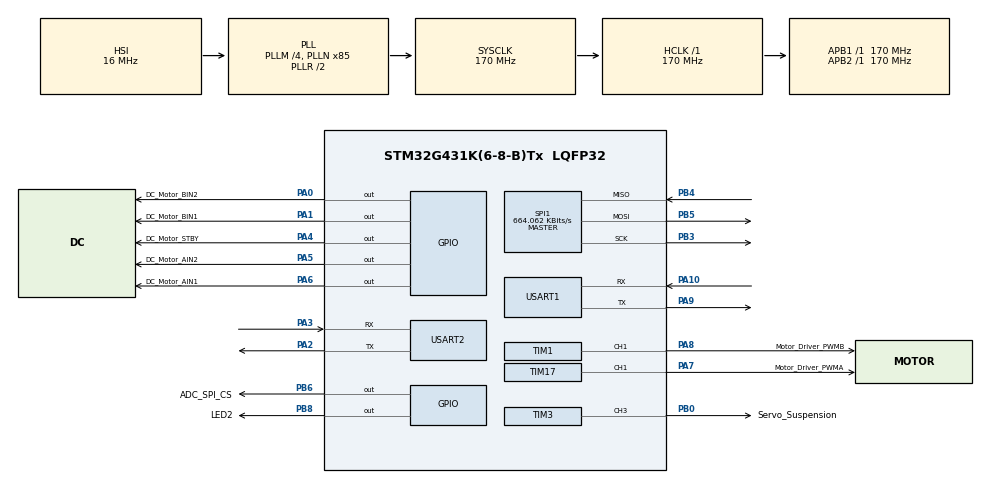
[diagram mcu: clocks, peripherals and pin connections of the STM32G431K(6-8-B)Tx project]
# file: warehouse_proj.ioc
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Mcu.Family=STM32G4
Mcu.Name=STM32G431K(6-8-B)Tx
Mcu.Package=LQFP32
NUCLEO-G431KB.LD2=true
NUCLEO-G431KB.VCP=true
NVIC.PriorityGroup=NVIC_PRIORITYGROUP_4
PA0.GPIO_Label=DC_Motor_BIN2
PA0.Signal=GPIO_Output
PA1.GPIO_Label=DC_Motor_BIN1
PA1.Signal=GPIO_Output
PA10.Mode=Asynchronous
PA10.Signal=USART1_RX
PA13.GPIO_Label=T_SWDIO
PA13.Mode=Serial_Wire
PA13.Signal=SYS_JTMS-SWDIO
PA14.GPIO_Label=T_SWCLK
PA14.Mode=Serial_Wire
PA14.Signal=SYS_JTCK-SWCLK
PA2.Mode=Asynchronous
PA2.Signal=USART2_TX
PA3.Mode=Asynchronous
PA3.Signal=USART2_RX
PA4.GPIO_Label=DC_Motor_STBY
PA4.Signal=GPIO_Output
PA5.GPIO_Label=DC_Motor_AIN2
PA5.Signal=GPIO_Output
PA6.GPIO_Label=DC_Motor_AIN1
PA6.Signal=GPIO_Output
PA7.GPIO_Label=Motor_Driver_PWMA
PA7.GPIO_Speed=GPIO_SPEED_FREQ_HIGH
PA7.Signal=S_TIM17_CH1
PA8.GPIO_Label=Motor_Driver_PWMB
PA8.Signal=S_TIM1_CH1
PA9.Mode=Asynchronous
PA9.Signal=USART1_TX
PB0.GPIO_Label=Servo_Suspension
PB0.GPIO_Speed=GPIO_SPEED_FREQ_HIGH
PB0.Signal=S_TIM3_CH3
PB3.GPIO_Speed=GPIO_SPEED_FREQ_VERY_HIGH
PB3.Mode=Full_Duplex_Master
PB3.Signal=SPI1_SCK
PB4.GPIO_Speed=GPIO_SPEED_FREQ_VERY_HIGH
PB4.Mode=Full_Duplex_Master
PB4.Signal=SPI1_MISO
PB5.GPIO_Speed=GPIO_SPEED_FREQ_VERY_HIGH
PB5.Mode=Full_Duplex_Master
PB5.Signal=SPI1_MOSI
PB6.GPIO_FM6=__NULL
PB6.GPIO_Label=ADC_SPI_CS
PB6.GPIO_Speed=GPIO_SPEED_FREQ_MEDIUM
PB6.PinState=GPIO_PIN_SET
PB6.Signal=GPIO_Output
PB8-BOOT0.GPIO_Label=LED2
PB8-BOOT0.Signal=GPIO_Output
ProjectManager.HeapSize=0x200
ProjectManager.StackSize=0x400
ProjectManager.TargetToolchain=CMake
RCC.ADC12Freq_Value=170000000
RCC.AHBFreq_Value=170000000
RCC.APB1Freq_Value=170000000
RCC.APB1TimFreq_Value=170000000
RCC.APB2Freq_Value=170000000
RCC.APB2TimFreq_Value=170000000
RCC.CortexFreq_Value=170000000
RCC.EXTERNAL_CLOCK_VALUE=12288000
RCC.HCLKFreq_Value=170000000
RCC.HSE_VALUE=8000000
RCC.HSI48_VALUE=48000000
RCC.HSI_VALUE=16000000
RCC.LSE_VALUE=32768
RCC.PLLM=RCC_PLLM_DIV4
RCC.PLLN=85
RCC.SYSCLKFreq_VALUE=170000000
RCC.SYSCLKSource=RCC_SYSCLKSOURCE_PLLCLK
RCC.USBFreq_Value=170000000
RCC.VCOOutputFreq_Value=340000000
SH.S_TIM17_CH1.0=TIM17_CH1,PWM Generation1 CH1
SH.S_TIM1_CH1.0=TIM1_CH1,PWM Generation1 CH1
SH.S_TIM3_CH3.0=TIM3_CH3,PWM Generation3 CH3
SPI1.BaudRatePrescaler=SPI_BAUDRATEPRESCALER_256
SPI1.CalculateBaudRate=664.062 KBits/s
SPI1.DataSize=SPI_DATASIZE_8BIT
SPI1.Direction=SPI_DIRECTION_2LINES
SPI1.Mode=SPI_MODE_MASTER
SPI1.NSSPMode=SPI_NSS_PULSE_DISABLE
SPI1.VirtualType=VM_MASTER
TIM1.Channel-PWM\ Generation1\ CH1=TIM_CHANNEL_1
TIM1.PeriodNoDither=999
TIM1.Prescaler=169
TIM16.PeriodNoDither=999
TIM16.Prescaler=169
TIM17.Channel=TIM_CHANNEL_1
TIM17.PeriodNoDither=999
TIM17.Prescaler=169
TIM3.Channel-PWM\ Generation3\ CH3=TIM_CHANNEL_3
TIM3.PeriodNoDither=19999
TIM3.Prescaler=169
USART1.VirtualMode-Asynchronous=VM_ASYNC
VP_NUCLEO-G431KB_VS_BSP_COMMON.Mode=COMMON
VP_SYS_VS_DBSignals.Mode=DisableDeadBatterySignals
VP_TIM16_VS_ClockSourceINT.Mode=Enable_Timer
VP_TIM17_VS_ClockSourceINT.Mode=Enable_Timer
board=NUCLEO-G431KB

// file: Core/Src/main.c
/* USER CODE BEGIN Header */
/**
 ******************************************************************************
 * @file           : main.c
 * @brief          : Main program body
 ******************************************************************************
 * @attention
 *
 * Copyright (c) 2026 STMicroelectronics.
 * All rights reserved.
 *
 * This software is licensed under terms that can be found in the LICENSE file
 * in the root directory of this software component.
 * If no LICENSE file comes with this software, it is provided AS-IS.
 *
 ******************************************************************************
 */
/* USER CODE END Header */
#include "main.h"

/* USER CODE BEGIN Includes */
#include <motor.h>
#include <robot.h>
#include <servo.h>
//#include <stepper.h>
#include <string.h>
#include <uart_control.h>
#include "LSM6DS3.h"

/* USER CODE END Includes */

COM_InitTypeDef BspCOMInit;

SPI_HandleTypeDef hspi1;

TIM_HandleTypeDef htim1;
TIM_HandleTypeDef htim3;
TIM_HandleTypeDef htim16;
TIM_HandleTypeDef htim17;

UART_HandleTypeDef huart1;

/* USER CODE BEGIN PV */
UART_HandleTypeDef huart2;
/* USER CODE END PV */

void SystemClock_Config(void);
static void MX_GPIO_Init(void);
static void MX_TIM17_Init(void);
static void MX_SPI1_Init(void);
static void MX_TIM16_Init(void);
static void MX_TIM3_Init(void);
static void MX_TIM1_Init(void);
static void MX_USART1_UART_Init(void);

int main(void)
{

  /* MCU Configuration--------------------------------------------------------*/

  /* Reset of all peripherals, Initializes the Flash interface and the Systick. */
  HAL_Init();

  /* Configure the system clock */
  SystemClock_Config();

  /* Initialize all configured peripherals */
  MX_GPIO_Init();
  MX_TIM17_Init();
  MX_SPI1_Init();
  MX_TIM16_Init();
  MX_TIM3_Init();
  MX_TIM1_Init();
  MX_USART1_UART_Init();
  /* USER CODE BEGIN 2 */
  Robot_Init(); //this calls motor_init.
  servo_init();
  //stepper_init();
  DWT_Init();

  /* USER CODE END 2 */

  /* Initialize leds */
  BSP_LED_Init(LED_GREEN);

  /* Initialize COM1 port (115200, 8 bits (7-bit data + 1 stop bit), no parity */
  BspCOMInit.BaudRate   = 115200;
  BspCOMInit.WordLength = COM_WORDLENGTH_8B;
  BspCOMInit.StopBits   = COM_STOPBITS_1;
  BspCOMInit.Parity     = COM_PARITY_NONE;
  BspCOMInit.HwFlowCtl  = COM_HWCONTROL_NONE;
  if (BSP_COM_Init(COM1, &BspCOMInit) != BSP_ERROR_NONE)
  {
    Error_Handler();
  }
  huart2 = hcom_uart[COM1];
  UART_CONTROL_init();

  /* Infinite loop */
  /* USER CODE BEGIN WHILE */
  while (1) {
    uint32_t loop_start_us = DWT_GetMicros();
    Telemetry_Loop_Start();

    UART_CONTROL_update();
    UART_CONTROL_check_timeout();
    Robot_Update();
    Servo_Update();

    Telemetry_Loop_End(loop_start_us);

    static uint32_t last_telemetry_time = 0;
    if ((HAL_GetTick() - last_telemetry_time) >= 50) {
      last_telemetry_time = HAL_GetTick();
      UART_Send_Telemetry();
    }
    /* USER CODE END WHILE */

  }
}

void SystemClock_Config(void)
{
  RCC_OscInitTypeDef RCC_OscInitStruct = {0};
  RCC_ClkInitTypeDef RCC_ClkInitStruct = {0};

  /** Configure the main internal regulator output voltage
  */
  HAL_PWREx_ControlVoltageScaling(PWR_REGULATOR_VOLTAGE_SCALE1_BOOST);

  /** Initializes the RCC Oscillators according to the specified parameters
  * in the RCC_OscInitTypeDef structure.
  */
  RCC_OscInitStruct.OscillatorType = RCC_OSCILLATORTYPE_HSI;
  RCC_OscInitStruct.HSIState = RCC_HSI_ON;
  RCC_OscInitStruct.HSICalibrationValue = RCC_HSICALIBRATION_DEFAULT;
  RCC_OscInitStruct.PLL.PLLState = RCC_PLL_ON;
  RCC_OscInitStruct.PLL.PLLSource = RCC_PLLSOURCE_HSI;
  RCC_OscInitStruct.PLL.PLLM = RCC_PLLM_DIV4;
  RCC_OscInitStruct.PLL.PLLN = 85;
  RCC_OscInitStruct.PLL.PLLP = RCC_PLLP_DIV2;
  RCC_OscInitStruct.PLL.PLLQ = RCC_PLLQ_DIV2;
  RCC_OscInitStruct.PLL.PLLR = RCC_PLLR_DIV2;
  if (HAL_RCC_OscConfig(&RCC_OscInitStruct) != HAL_OK)
  {
    Error_Handler();
  }

  /** Initializes the CPU, AHB and APB buses clocks
  */
  RCC_ClkInitStruct.ClockType = RCC_CLOCKTYPE_HCLK|RCC_CLOCKTYPE_SYSCLK
                              |RCC_CLOCKTYPE_PCLK1|RCC_CLOCKTYPE_PCLK2;
  RCC_ClkInitStruct.SYSCLKSource = RCC_SYSCLKSOURCE_PLLCLK;
  RCC_ClkInitStruct.AHBCLKDivider = RCC_SYSCLK_DIV1;
  RCC_ClkInitStruct.APB1CLKDivider = RCC_HCLK_DIV1;
  RCC_ClkInitStruct.APB2CLKDivider = RCC_HCLK_DIV1;

  if (HAL_RCC_ClockConfig(&RCC_ClkInitStruct, FLASH_LATENCY_4) != HAL_OK)
  {
    Error_Handler();
  }
}

static void MX_SPI1_Init(void)
{

  /* SPI1 parameter configuration*/
  hspi1.Instance = SPI1;
  hspi1.Init.Mode = SPI_MODE_MASTER;
  hspi1.Init.Direction = SPI_DIRECTION_2LINES;
  hspi1.Init.DataSize = SPI_DATASIZE_8BIT;
  hspi1.Init.CLKPolarity = SPI_POLARITY_LOW;
  hspi1.Init.CLKPhase = SPI_PHASE_1EDGE;
  hspi1.Init.NSS = SPI_NSS_SOFT;
  hspi1.Init.BaudRatePrescaler = SPI_BAUDRATEPRESCALER_256;
  hspi1.Init.FirstBit = SPI_FIRSTBIT_MSB;
  hspi1.Init.TIMode = SPI_TIMODE_DISABLE;
  hspi1.Init.CRCCalculation = SPI_CRCCALCULATION_DISABLE;
  hspi1.Init.CRCPolynomial = 7;
  hspi1.Init.CRCLength = SPI_CRC_LENGTH_DATASIZE;
  hspi1.Init.NSSPMode = SPI_NSS_PULSE_DISABLE;
  if (HAL_SPI_Init(&hspi1) != HAL_OK)
  {
    Error_Handler();
  }

}

static void MX_TIM1_Init(void)
{

  TIM_MasterConfigTypeDef sMasterConfig = {0};
  TIM_OC_InitTypeDef sConfigOC = {0};
  TIM_BreakDeadTimeConfigTypeDef sBreakDeadTimeConfig = {0};

  htim1.Instance = TIM1;
  htim1.Init.Prescaler = 169;
  htim1.Init.CounterMode = TIM_COUNTERMODE_UP;
  htim1.Init.Period = 999;
  htim1.Init.ClockDivision = TIM_CLOCKDIVISION_DIV1;
  htim1.Init.RepetitionCounter = 0;
  htim1.Init.AutoReloadPreload = TIM_AUTORELOAD_PRELOAD_DISABLE;
  if (HAL_TIM_PWM_Init(&htim1) != HAL_OK)
  {
    Error_Handler();
  }
  sMasterConfig.MasterOutputTrigger = TIM_TRGO_RESET;
  sMasterConfig.MasterOutputTrigger2 = TIM_TRGO2_RESET;
  sMasterConfig.MasterSlaveMode = TIM_MASTERSLAVEMODE_DISABLE;
  if (HAL_TIMEx_MasterConfigSynchronization(&htim1, &sMasterConfig) != HAL_OK)
  {
    Error_Handler();
  }
  sConfigOC.OCMode = TIM_OCMODE_PWM1;
  sConfigOC.Pulse = 0;
  sConfigOC.OCPolarity = TIM_OCPOLARITY_HIGH;
  sConfigOC.OCNPolarity = TIM_OCNPOLARITY_HIGH;
  sConfigOC.OCFastMode = TIM_OCFAST_DISABLE;
  sConfigOC.OCIdleState = TIM_OCIDLESTATE_RESET;
  sConfigOC.OCNIdleState = TIM_OCNIDLESTATE_RESET;
  if (HAL_TIM_PWM_ConfigChannel(&htim1, &sConfigOC, TIM_CHANNEL_1) != HAL_OK)
  {
    Error_Handler();
  }
  sBreakDeadTimeConfig.OffStateRunMode = TIM_OSSR_DISABLE;
  sBreakDeadTimeConfig.OffStateIDLEMode = TIM_OSSI_DISABLE;
  sBreakDeadTimeConfig.LockLevel = TIM_LOCKLEVEL_OFF;
  sBreakDeadTimeConfig.DeadTime = 0;
  sBreakDeadTimeConfig.BreakState = TIM_BREAK_DISABLE;
  sBreakDeadTimeConfig.BreakPolarity = TIM_BREAKPOLARITY_HIGH;
  sBreakDeadTimeConfig.BreakFilter = 0;
  sBreakDeadTimeConfig.BreakAFMode = TIM_BREAK_AFMODE_INPUT;
  sBreakDeadTimeConfig.Break2State = TIM_BREAK2_DISABLE;
  sBreakDeadTimeConfig.Break2Polarity = TIM_BREAK2POLARITY_HIGH;
  sBreakDeadTimeConfig.Break2Filter = 0;
  sBreakDeadTimeConfig.Break2AFMode = TIM_BREAK_AFMODE_INPUT;
  sBreakDeadTimeConfig.AutomaticOutput = TIM_AUTOMATICOUTPUT_DISABLE;
  if (HAL_TIMEx_ConfigBreakDeadTime(&htim1, &sBreakDeadTimeConfig) != HAL_OK)
  {
    Error_Handler();
  }
  HAL_TIM_MspPostInit(&htim1);

}

static void MX_TIM3_Init(void)
{

  TIM_MasterConfigTypeDef sMasterConfig = {0};
  TIM_OC_InitTypeDef sConfigOC = {0};

  htim3.Instance = TIM3;
  htim3.Init.Prescaler = 169;
  htim3.Init.CounterMode = TIM_COUNTERMODE_UP;
  htim3.Init.Period = 19999;
  htim3.Init.ClockDivision = TIM_CLOCKDIVISION_DIV1;
  htim3.Init.AutoReloadPreload = TIM_AUTORELOAD_PRELOAD_DISABLE;
  if (HAL_TIM_PWM_Init(&htim3) != HAL_OK)
  {
    Error_Handler();
  }
  sMasterConfig.MasterOutputTrigger = TIM_TRGO_RESET;
  sMasterConfig.MasterSlaveMode = TIM_MASTERSLAVEMODE_DISABLE;
  if (HAL_TIMEx_MasterConfigSynchronization(&htim3, &sMasterConfig) != HAL_OK)
  {
    Error_Handler();
  }
  sConfigOC.OCMode = TIM_OCMODE_PWM1;
  sConfigOC.Pulse = 0;
  sConfigOC.OCPolarity = TIM_OCPOLARITY_HIGH;
  sConfigOC.OCFastMode = TIM_OCFAST_DISABLE;
  if (HAL_TIM_PWM_ConfigChannel(&htim3, &sConfigOC, TIM_CHANNEL_3) != HAL_OK)
  {
    Error_Handler();
  }
  HAL_TIM_MspPostInit(&htim3);

}

static void MX_TIM16_Init(void)
{

  htim16.Instance = TIM16;
  htim16.Init.Prescaler = 169;
  htim16.Init.CounterMode = TIM_COUNTERMODE_UP;
  htim16.Init.Period = 999;
  htim16.Init.ClockDivision = TIM_CLOCKDIVISION_DIV1;
  htim16.Init.RepetitionCounter = 0;
  htim16.Init.AutoReloadPreload = TIM_AUTORELOAD_PRELOAD_DISABLE;
  if (HAL_TIM_Base_Init(&htim16) != HAL_OK)
  {
    Error_Handler();
  }

}

static void MX_TIM17_Init(void)
{

  TIM_OC_InitTypeDef sConfigOC = {0};
  TIM_BreakDeadTimeConfigTypeDef sBreakDeadTimeConfig = {0};

  htim17.Instance = TIM17;
  htim17.Init.Prescaler = 169;
  htim17.Init.CounterMode = TIM_COUNTERMODE_UP;
  htim17.Init.Period = 999;
  htim17.Init.ClockDivision = TIM_CLOCKDIVISION_DIV1;
  htim17.Init.RepetitionCounter = 0;
  htim17.Init.AutoReloadPreload = TIM_AUTORELOAD_PRELOAD_DISABLE;
  if (HAL_TIM_Base_Init(&htim17) != HAL_OK)
  {
    Error_Handler();
  }
  if (HAL_TIM_PWM_Init(&htim17) != HAL_OK)
  {
    Error_Handler();
  }
  sConfigOC.OCMode = TIM_OCMODE_PWM1;
  sConfigOC.Pulse = 0;
  sConfigOC.OCPolarity = TIM_OCPOLARITY_HIGH;
  sConfigOC.OCNPolarity = TIM_OCNPOLARITY_HIGH;
  sConfigOC.OCFastMode = TIM_OCFAST_DISABLE;
  sConfigOC.OCIdleState = TIM_OCIDLESTATE_RESET;
  sConfigOC.OCNIdleState = TIM_OCNIDLESTATE_RESET;
  if (HAL_TIM_PWM_ConfigChannel(&htim17, &sConfigOC, TIM_CHANNEL_1) != HAL_OK)
  {
    Error_Handler();
  }
  sBreakDeadTimeConfig.OffStateRunMode = TIM_OSSR_DISABLE;
  sBreakDeadTimeConfig.OffStateIDLEMode = TIM_OSSI_DISABLE;
  sBreakDeadTimeConfig.LockLevel = TIM_LOCKLEVEL_OFF;
  sBreakDeadTimeConfig.DeadTime = 0;
  sBreakDeadTimeConfig.BreakState = TIM_BREAK_DISABLE;
  sBreakDeadTimeConfig.BreakPolarity = TIM_BREAKPOLARITY_HIGH;
  sBreakDeadTimeConfig.BreakFilter = 0;
  sBreakDeadTimeConfig.AutomaticOutput = TIM_AUTOMATICOUTPUT_DISABLE;
  if (HAL_TIMEx_ConfigBreakDeadTime(&htim17, &sBreakDeadTimeConfig) != HAL_OK)
  {
    Error_Handler();
  }
  HAL_TIM_MspPostInit(&htim17);

}

static void MX_USART1_UART_Init(void)
{

  huart1.Instance = USART1;
  huart1.Init.BaudRate = 115200;
  huart1.Init.WordLength = UART_WORDLENGTH_8B;
  huart1.Init.StopBits = UART_STOPBITS_1;
  huart1.Init.Parity = UART_PARITY_NONE;
  huart1.Init.Mode = UART_MODE_TX_RX;
  huart1.Init.HwFlowCtl = UART_HWCONTROL_NONE;
  huart1.Init.OverSampling = UART_OVERSAMPLING_16;
  huart1.Init.OneBitSampling = UART_ONE_BIT_SAMPLE_DISABLE;
  huart1.Init.ClockPrescaler = UART_PRESCALER_DIV1;
  huart1.AdvancedInit.AdvFeatureInit = UART_ADVFEATURE_NO_INIT;
  if (HAL_UART_Init(&huart1) != HAL_OK)
  {
    Error_Handler();
  }
  if (HAL_UARTEx_SetTxFifoThreshold(&huart1, UART_TXFIFO_THRESHOLD_1_8) != HAL_OK)
  {
    Error_Handler();
  }
  if (HAL_UARTEx_SetRxFifoThreshold(&huart1, UART_RXFIFO_THRESHOLD_1_8) != HAL_OK)
  {
    Error_Handler();
  }
  if (HAL_UARTEx_DisableFifoMode(&huart1) != HAL_OK)
  {
    Error_Handler();
  }

}

static void MX_GPIO_Init(void)
{
  GPIO_InitTypeDef GPIO_InitStruct = {0};

  /* GPIO Ports Clock Enable */
  __HAL_RCC_GPIOA_CLK_ENABLE();
  __HAL_RCC_GPIOB_CLK_ENABLE();

  /*Configure GPIO pin Output Level */
  HAL_GPIO_WritePin(GPIOA, DC_Motor_BIN2_Pin|DC_Motor_BIN1_Pin|DC_Motor_STBY_Pin|DC_Motor_AIN2_Pin
                          |DC_Motor_AIN1_Pin, GPIO_PIN_RESET);

  /*Configure GPIO pin Output Level */
  HAL_GPIO_WritePin(ADC_SPI_CS_GPIO_Port, ADC_SPI_CS_Pin, GPIO_PIN_SET);

  /*Configure GPIO pin Output Level */
  HAL_GPIO_WritePin(LED2_GPIO_Port, LED2_Pin, GPIO_PIN_RESET);

  /*Configure GPIO pins : DC_Motor_BIN2_Pin DC_Motor_BIN1_Pin DC_Motor_STBY_Pin DC_Motor_AIN2_Pin
                           DC_Motor_AIN1_Pin */
  GPIO_InitStruct.Pin = DC_Motor_BIN2_Pin|DC_Motor_BIN1_Pin|DC_Motor_STBY_Pin|DC_Motor_AIN2_Pin
                          |DC_Motor_AIN1_Pin;
  GPIO_InitStruct.Mode = GPIO_MODE_OUTPUT_PP;
  GPIO_InitStruct.Pull = GPIO_NOPULL;
  GPIO_InitStruct.Speed = GPIO_SPEED_FREQ_LOW;
  HAL_GPIO_Init(GPIOA, &GPIO_InitStruct);

  /*Configure GPIO pin : ADC_SPI_CS_Pin */
  GPIO_InitStruct.Pin = ADC_SPI_CS_Pin;
  GPIO_InitStruct.Mode = GPIO_MODE_OUTPUT_PP;
  GPIO_InitStruct.Pull = GPIO_NOPULL;
  GPIO_InitStruct.Speed = GPIO_SPEED_FREQ_MEDIUM;
  HAL_GPIO_Init(ADC_SPI_CS_GPIO_Port, &GPIO_InitStruct);

  /*Configure GPIO pin : LED2_Pin */
  GPIO_InitStruct.Pin = LED2_Pin;
  GPIO_InitStruct.Mode = GPIO_MODE_OUTPUT_PP;
  GPIO_InitStruct.Pull = GPIO_NOPULL;
  GPIO_InitStruct.Speed = GPIO_SPEED_FREQ_LOW;
  HAL_GPIO_Init(LED2_GPIO_Port, &GPIO_InitStruct);

  /* USER CODE BEGIN MX_GPIO_Init_2 */
  /* Configure GPIO pin Output Level for RFID */
  //HAL_GPIO_WritePin(RFID_RST_GPIO_Port, RFID_RST_Pin, GPIO_PIN_SET);
  //HAL_GPIO_WritePin(RFID_SPI_CS_GPIO_Port, RFID_SPI_CS_Pin, GPIO_PIN_SET);

  /* Configure GPIO pin : RFID_RST_Pin */
  //GPIO_InitStruct.Pin = RFID_RST_Pin;
  //GPIO_InitStruct.Mode = GPIO_MODE_OUTPUT_PP;
  //GPIO_InitStruct.Pull = GPIO_NOPULL;
  //GPIO_InitStruct.Speed = GPIO_SPEED_FREQ_HIGH;
  //HAL_GPIO_Init(RFID_RST_GPIO_Port, &GPIO_InitStruct);

  /* Configure GPIO pin : RFID_SPI_CS_Pin */
  //GPIO_InitStruct.Pin = RFID_SPI_CS_Pin;
  //GPIO_InitStruct.Mode = GPIO_MODE_OUTPUT_PP;
  //GPIO_InitStruct.Pull = GPIO_NOPULL;
  //GPIO_InitStruct.Speed = GPIO_SPEED_FREQ_MEDIUM;
  //HAL_GPIO_Init(RFID_SPI_CS_GPIO_Port, &GPIO_InitStruct);
  /* USER CODE END MX_GPIO_Init_2 */
}

/* USER CODE BEGIN Header */
/**
 ******************************************************************************
 * @file           : main.c
 * @brief          : Main program body
 ******************************************************************************
 * @attention
 *
 * Copyright (c) 2026 STMicroelectronics.
 * All rights reserved.
 *
 * This software is licensed under terms that can be found in the LICENSE file
 * in the root directory of this software component.
 * If no LICENSE file comes with this software, it is provided AS-IS.
 *
 ******************************************************************************
 */
/* USER CODE END Header */

void Error_Handler(void)
{
  /* USER CODE BEGIN Error_Handler_Debug */
  /* User can add his own implementation to report the HAL error return state */
  __disable_irq();
  __HAL_RCC_GPIOB_CLK_ENABLE();
  GPIO_InitTypeDef GPIO_InitStruct = {0};
  GPIO_InitStruct.Pin = LED2_PIN;
  GPIO_InitStruct.Mode = GPIO_MODE_OUTPUT_PP;
  GPIO_InitStruct.Pull = GPIO_NOPULL;
  GPIO_InitStruct.Speed = GPIO_SPEED_FREQ_LOW;
  HAL_GPIO_Init(LED2_GPIO_PORT, &GPIO_InitStruct);

  while (1) {
    HAL_GPIO_TogglePin(LED2_GPIO_PORT, LED2_PIN);
    for (volatile uint32_t i = 0; i < 500000; i++)
      ;
  }
  /* USER CODE END Error_Handler_Debug */
}
#ifdef USE_FULL_ASSERT
/**
  * @brief  Reports the name of the source file and the source line number
  *         where the assert_param error has occurred.
  * @param  file: pointer to the source file name
  * @param  line: assert_param error line source number
  * @retval None
  */
void assert_failed(uint8_t *file, uint32_t line)
{
  /* USER CODE BEGIN 6 */
  /* User can add his own implementation to report the file name and line
     number, ex: printf("Wrong parameters value: file %s on line %d\r\n", file,
     line) */
  /* USER CODE END 6 */
}
#endif /* USE_FULL_ASSERT */
